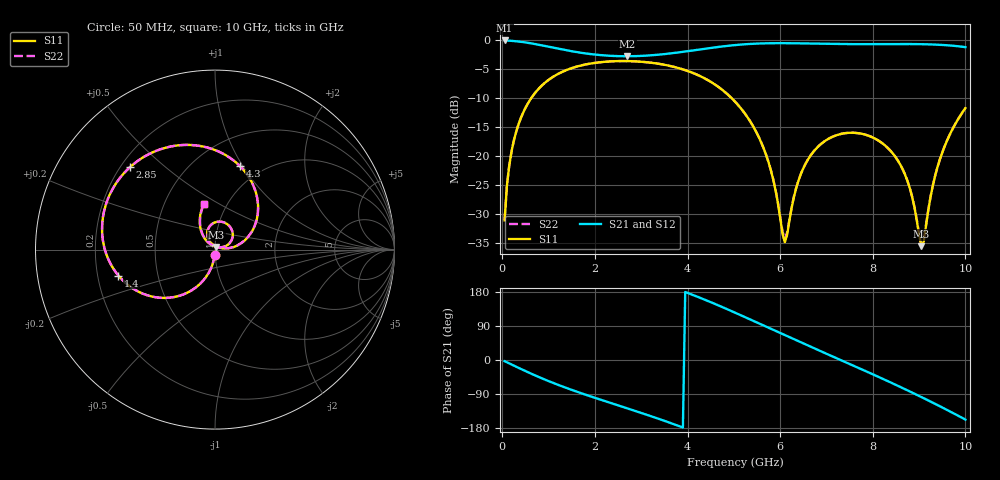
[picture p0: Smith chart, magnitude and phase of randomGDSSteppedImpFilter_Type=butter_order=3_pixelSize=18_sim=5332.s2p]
! freq	dB(S11)	phase(S11)	dB(S12)	phase(S12)
!  dB(S21)	phase(S21)	dB(S22)	phase(S22)
!S-par simulation data
#  GHz  S  DB  R 50
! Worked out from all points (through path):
!   200 points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, 50 MHz to 10 GHz, reference 50 ohm
!   highest |S21| = -0.01 dB at 50 MHz (marker M1); lowest = -2.7 dB at 2.7 GHz (marker M2)
!   group delay of S21, straight-line fit = 140 ps
!   lowest |S11| = -35.6 dB at 9.05 GHz (marker M3), VSWR 1.03, Z = 50.6 + j1.55 ohm
!   |S11| at or under -10 dB: start of sweep to 623.2 MHz; 4.956 GHz to end of sweep
!   |S22| runs from -35.2 to -3.6 dB; largest |S21 - S12| = 0
!   S11 on the Smith chart (normalised r, x): 50 MHz: 1.00, -0.06; 1.4 GHz: 0.29, -0.12; 2.85 GHz: 0.24, +0.38; 4.3 GHz: 0.80, +0.97; 10 GHz: 0.78, +0.42
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0.05  -31.07 -93.1  -0.01 -3.0  -0.01 -3.0  -31.07 -93.1
0.15  -21.61 -99.4  -0.05 -9.0  -0.05 -9.0  -21.61 -99.4
0.4  -13.43 -114.1  -0.24 -23.6  -0.24 -23.6  -13.43 -114.1
0.85  -7.83 -138.6  -0.85 -48.1  -0.85 -48.1  -7.83 -138.6
1.4  -5.07 -165.0  -1.73 -74.5  -1.73 -74.5  -5.07 -165.0
1.75  -4.24 179.9  -2.19 -89.6  -2.19 -89.6  -4.24 179.9
2.7  -3.57 141.9  -2.74 -127.6  -2.74 -127.6  -3.57 141.9
2.85  -3.61 136.0  -2.72 -133.6  -2.72 -133.6  -3.61 136.0
3.4  -4.07 113.7  -2.45 -156.2  -2.45 -156.2  -4.07 113.7
4.3  -6.27 73.3  -1.52 162.7  -1.52 162.7  -6.27 73.4
5.05  -10.78 36.1  -0.79 123.6  -0.79 123.6  -10.78 36.3
5.7  -19.87 7.4  -0.50 87.7  -0.50 87.7  -19.85 8.0
5.9  -25.86 7.0  -0.48 76.5  -0.48 76.5  -25.79 8.1
6.1  -34.87 64.3  -0.48 65.5  -0.48 65.5  -34.34 64.4
6.4  -24.12 122.7  -0.51 49.0  -0.51 49.0  -24.07 121.7
6.7  -19.42 113.9  -0.55 32.7  -0.55 32.7  -19.41 113.3
7.5  -15.96 75.8  -0.64 -10.4  -0.64 -10.4  -15.95 75.4
8.35  -18.79 33.2  -0.63 -57.2  -0.63 -57.2  -18.79 33.0
8.75  -24.30 18.2  -0.63 -80.1  -0.63 -80.1  -24.29 18.3
9.05  -35.55 66.5  -0.65 -97.8  -0.65 -97.8  -35.24 66.7
9.45  -20.54 131.8  -0.76 -122.1  -0.76 -122.1  -20.52 131.1
10  -11.69 104.1  -1.16 -157.2  -1.16 -157.2  -11.69 103.6
